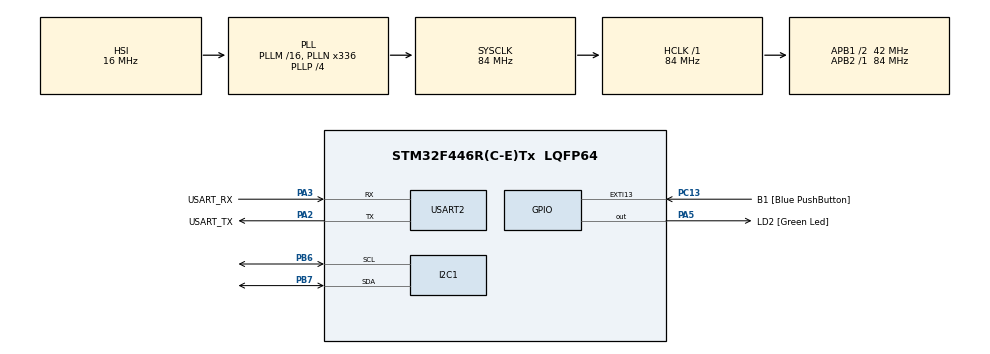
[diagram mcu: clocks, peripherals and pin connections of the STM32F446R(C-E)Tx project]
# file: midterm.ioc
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Mcu.Family=STM32F4
Mcu.Name=STM32F446R(C-E)Tx
Mcu.Package=LQFP64
NVIC.PriorityGroup=NVIC_PRIORITYGROUP_0
PA13.GPIO_Label=TMS
PA13.Mode=Serial_Wire
PA13.Signal=SYS_JTMS-SWDIO
PA14.GPIO_Label=TCK
PA14.Mode=Serial_Wire
PA14.Signal=SYS_JTCK-SWCLK
PA2.GPIO_Label=USART_TX
PA2.Mode=Asynchronous
PA2.Signal=USART2_TX
PA3.GPIO_Label=USART_RX
PA3.Mode=Asynchronous
PA3.Signal=USART2_RX
PA5.GPIO_Label=LD2 [Green Led]
PA5.Signal=GPIO_Output
PB3.GPIO_Label=SWO
PB3.Signal=SYS_JTDO-SWO
PB6.GPIO_Pu=GPIO_PULLUP
PB6.Mode=I2C
PB6.Signal=I2C1_SCL
PB7.GPIO_Pu=GPIO_PULLUP
PB7.Mode=I2C
PB7.Signal=I2C1_SDA
PC13.GPIO_Label=B1 [Blue PushButton]
PC13.GPIO_ModeDefaultEXTI=GPIO_MODE_IT_FALLING
PC13.Signal=GPXTI13
PC14-OSC32_IN.Mode=LSE-External-Oscillator
PC14-OSC32_IN.Signal=RCC_OSC32_IN
PC15-OSC32_OUT.Mode=LSE-External-Oscillator
PC15-OSC32_OUT.Signal=RCC_OSC32_OUT
PH0-OSC_IN.Mode=HSE-External-Oscillator
PH0-OSC_IN.Signal=RCC_OSC_IN
PH1-OSC_OUT.Mode=HSE-External-Oscillator
PH1-OSC_OUT.Signal=RCC_OSC_OUT
ProjectManager.HeapSize=0x200
ProjectManager.StackSize=0x400
ProjectManager.TargetToolchain=STM32CubeIDE
RCC.48MHZClocksFreq_Value=84000000
RCC.AHBFreq_Value=84000000
RCC.APB1CLKDivider=RCC_HCLK_DIV2
RCC.APB1Freq_Value=42000000
RCC.APB1TimFreq_Value=84000000
RCC.APB2Freq_Value=84000000
RCC.APB2TimFreq_Value=84000000
RCC.CortexFreq_Value=84000000
RCC.FLatency-AdvancedSettings=FLASH_LATENCY_2
RCC.HCLKFreq_Value=84000000
RCC.HSE_VALUE=8000000
RCC.HSI_VALUE=16000000
RCC.PLLN=336
RCC.PLLP=RCC_PLLP_DIV4
RCC.SYSCLKFreq_VALUE=84000000
RCC.SYSCLKSource=RCC_SYSCLKSOURCE_PLLCLK
RCC.USBFreq_Value=168000000
RCC.VCOOutputFreq_Value=336000000
USART2.VirtualMode=VM_ASYNC
board=NUCLEO-F446RE

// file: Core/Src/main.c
/* USER CODE BEGIN Header */
/**
  ******************************************************************************
  * @file           : main.c
  * @brief          : Main program body
  ******************************************************************************
  * @attention
  *
  * Copyright (c) 2026 STMicroelectronics.
  * All rights reserved.
  *
  * This software is licensed under terms that can be found in the LICENSE file
  * in the root directory of this software component.
  * If no LICENSE file comes with this software, it is provided AS-IS.
  *
  ******************************************************************************
  */
/* USER CODE END Header */
#include "main.h"

/* USER CODE BEGIN Includes */
#include "string.h"
/* USER CODE END Includes */

I2C_HandleTypeDef hi2c1;

UART_HandleTypeDef huart2;

/* USER CODE BEGIN PV */
#define SERLCD_WRITE_ADDR (0x72 << 1)

/* USER CODE END PV */

void SystemClock_Config(void);
static void MX_GPIO_Init(void);
static void MX_I2C1_Init(void);
static void MX_USART2_UART_Init(void);

/* USER CODE BEGIN 0 */
void writeLCDText(char *text);
/* USER CODE END 0 */

int main(void)
{

  /* MCU Configuration--------------------------------------------------------*/

  /* Reset of all peripherals, Initializes the Flash interface and the Systick. */
  HAL_Init();

  /* Configure the system clock */
  SystemClock_Config();

  /* Initialize all configured peripherals */
  MX_GPIO_Init();
  MX_I2C1_Init();
  MX_USART2_UART_Init();
  /* USER CODE BEGIN 2 */
//  uint8_t i2c_buffer[] = "Hello World";
  /* USER CODE END 2 */

  /* Infinite loop */
  while (1)
  {

    /* USER CODE BEGIN 3 */

	  writeLCDText("HI Joseph");
	  HAL_Delay(2000);
	  writeLCDText("BYE Joseph!!!!!!!!!!!!!!"); //MAX 32 characters or it crashes and doesn't respond
	  HAL_Delay(2000);
	  writeLCDText("123");
	  HAL_Delay(200); // minimun ish delay if you want any text to show, probably higher if you want it readable;
	  writeLCDText("456");
	  HAL_Delay(2000);

  }
  /* USER CODE END 3 */
}

void SystemClock_Config(void)
{
  RCC_OscInitTypeDef RCC_OscInitStruct = {0};
  RCC_ClkInitTypeDef RCC_ClkInitStruct = {0};

  /** Configure the main internal regulator output voltage
  */
  __HAL_RCC_PWR_CLK_ENABLE();
  __HAL_PWR_VOLTAGESCALING_CONFIG(PWR_REGULATOR_VOLTAGE_SCALE3);

  /** Initializes the RCC Oscillators according to the specified parameters
  * in the RCC_OscInitTypeDef structure.
  */
  RCC_OscInitStruct.OscillatorType = RCC_OSCILLATORTYPE_HSI;
  RCC_OscInitStruct.HSIState = RCC_HSI_ON;
  RCC_OscInitStruct.HSICalibrationValue = RCC_HSICALIBRATION_DEFAULT;
  RCC_OscInitStruct.PLL.PLLState = RCC_PLL_ON;
  RCC_OscInitStruct.PLL.PLLSource = RCC_PLLSOURCE_HSI;
  RCC_OscInitStruct.PLL.PLLM = 16;
  RCC_OscInitStruct.PLL.PLLN = 336;
  RCC_OscInitStruct.PLL.PLLP = RCC_PLLP_DIV4;
  RCC_OscInitStruct.PLL.PLLQ = 2;
  RCC_OscInitStruct.PLL.PLLR = 2;
  if (HAL_RCC_OscConfig(&RCC_OscInitStruct) != HAL_OK)
  {
    Error_Handler();
  }

  /** Initializes the CPU, AHB and APB buses clocks
  */
  RCC_ClkInitStruct.ClockType = RCC_CLOCKTYPE_HCLK|RCC_CLOCKTYPE_SYSCLK
                              |RCC_CLOCKTYPE_PCLK1|RCC_CLOCKTYPE_PCLK2;
  RCC_ClkInitStruct.SYSCLKSource = RCC_SYSCLKSOURCE_PLLCLK;
  RCC_ClkInitStruct.AHBCLKDivider = RCC_SYSCLK_DIV1;
  RCC_ClkInitStruct.APB1CLKDivider = RCC_HCLK_DIV2;
  RCC_ClkInitStruct.APB2CLKDivider = RCC_HCLK_DIV1;

  if (HAL_RCC_ClockConfig(&RCC_ClkInitStruct, FLASH_LATENCY_2) != HAL_OK)
  {
    Error_Handler();
  }
}

static void MX_I2C1_Init(void)
{

  hi2c1.Instance = I2C1;
  hi2c1.Init.ClockSpeed = 100000;
  hi2c1.Init.DutyCycle = I2C_DUTYCYCLE_2;
  hi2c1.Init.OwnAddress1 = 0;
  hi2c1.Init.AddressingMode = I2C_ADDRESSINGMODE_7BIT;
  hi2c1.Init.DualAddressMode = I2C_DUALADDRESS_DISABLE;
  hi2c1.Init.OwnAddress2 = 0;
  hi2c1.Init.GeneralCallMode = I2C_GENERALCALL_DISABLE;
  hi2c1.Init.NoStretchMode = I2C_NOSTRETCH_DISABLE;
  if (HAL_I2C_Init(&hi2c1) != HAL_OK)
  {
    Error_Handler();
  }

}

static void MX_USART2_UART_Init(void)
{

  huart2.Instance = USART2;
  huart2.Init.BaudRate = 115200;
  huart2.Init.WordLength = UART_WORDLENGTH_8B;
  huart2.Init.StopBits = UART_STOPBITS_1;
  huart2.Init.Parity = UART_PARITY_NONE;
  huart2.Init.Mode = UART_MODE_TX_RX;
  huart2.Init.HwFlowCtl = UART_HWCONTROL_NONE;
  huart2.Init.OverSampling = UART_OVERSAMPLING_16;
  if (HAL_UART_Init(&huart2) != HAL_OK)
  {
    Error_Handler();
  }

}

static void MX_GPIO_Init(void)
{
  GPIO_InitTypeDef GPIO_InitStruct = {0};

  /* GPIO Ports Clock Enable */
  __HAL_RCC_GPIOC_CLK_ENABLE();
  __HAL_RCC_GPIOH_CLK_ENABLE();
  __HAL_RCC_GPIOA_CLK_ENABLE();
  __HAL_RCC_GPIOB_CLK_ENABLE();

  /*Configure GPIO pin Output Level */
  HAL_GPIO_WritePin(LD2_GPIO_Port, LD2_Pin, GPIO_PIN_RESET);

  /*Configure GPIO pin : B1_Pin */
  GPIO_InitStruct.Pin = B1_Pin;
  GPIO_InitStruct.Mode = GPIO_MODE_IT_FALLING;
  GPIO_InitStruct.Pull = GPIO_NOPULL;
  HAL_GPIO_Init(B1_GPIO_Port, &GPIO_InitStruct);

  /*Configure GPIO pin : LD2_Pin */
  GPIO_InitStruct.Pin = LD2_Pin;
  GPIO_InitStruct.Mode = GPIO_MODE_OUTPUT_PP;
  GPIO_InitStruct.Pull = GPIO_NOPULL;
  GPIO_InitStruct.Speed = GPIO_SPEED_FREQ_LOW;
  HAL_GPIO_Init(LD2_GPIO_Port, &GPIO_InitStruct);

}

/* USER CODE BEGIN 4 */

void writeLCDText(char *text)
{
    uint8_t clear_cmd[] = {0xFE, 0x01};
    uint8_t home_cmd[]  = {0xFE, 0x80};

    HAL_I2C_Master_Transmit(&hi2c1, SERLCD_WRITE_ADDR, clear_cmd, 2, HAL_MAX_DELAY);
    HAL_Delay(1);

    HAL_I2C_Master_Transmit(&hi2c1, SERLCD_WRITE_ADDR, home_cmd, 2, HAL_MAX_DELAY);
    HAL_Delay(1);

    HAL_I2C_Master_Transmit(&hi2c1, SERLCD_WRITE_ADDR, text, strlen(text), HAL_MAX_DELAY
    );
}
/* USER CODE END 4 */

void Error_Handler(void)
{
  __disable_irq();
  while (1)
  {
  }
}
